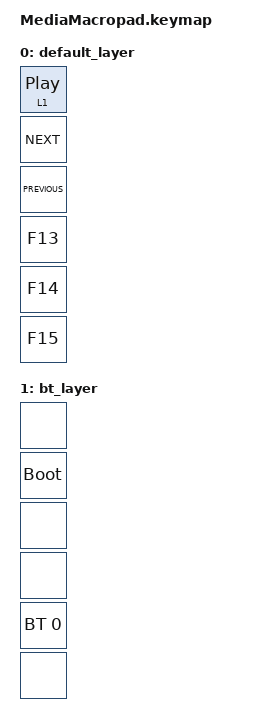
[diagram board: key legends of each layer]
#include <behaviors.dtsi>
#include <dt-bindings/zmk/keys.h>
#include <dt-bindings/zmk/bt.h>

/ {
    keymap {
        compatible = "zmk,keymap";

/*		sensor-bindings = <&inc_dep_kp C_VOLUME_UP C_VOLUME_DOWN>; */

        default_layer { /* Layer 0 */
            bindings = <
                &lt 1 C_PLAY_PAUSE
                &kp C_NEXT
                &kp C_PREVIOUS
                &kp F13
                &kp F14
                &kp F15
            >;
        };

        bt_layer { /* Layer 1 */
            bindings = <
                &none
                &bootloader
                &none
                &none
                &bt BT_SEL 0
                &none
            >;
        };
    };
};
